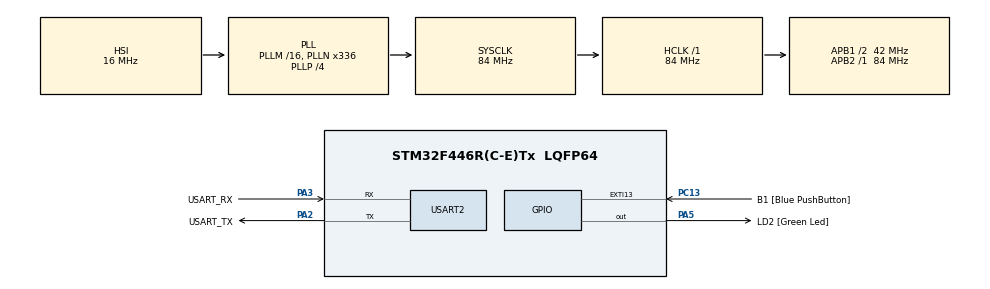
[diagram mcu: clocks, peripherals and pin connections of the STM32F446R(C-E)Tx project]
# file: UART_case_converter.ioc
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Mcu.Family=STM32F4
Mcu.Name=STM32F446R(C-E)Tx
Mcu.Package=LQFP64
NVIC.PriorityGroup=NVIC_PRIORITYGROUP_0
NVIC.USART2_IRQn=true\:0\:0\:false\:false\:true\:true\:true\:true
PA13.GPIO_Label=TMS
PA13.Mode=Serial_Wire
PA13.Signal=SYS_JTMS-SWDIO
PA14.GPIO_Label=TCK
PA14.Mode=Serial_Wire
PA14.Signal=SYS_JTCK-SWCLK
PA2.GPIO_Label=USART_TX
PA2.Mode=Asynchronous
PA2.Signal=USART2_TX
PA3.GPIO_Label=USART_RX
PA3.Mode=Asynchronous
PA3.Signal=USART2_RX
PA5.GPIO_Label=LD2 [Green Led]
PA5.Signal=GPIO_Output
PB3.GPIO_Label=SWO
PB3.Signal=SYS_JTDO-SWO
PC13.GPIO_Label=B1 [Blue PushButton]
PC13.GPIO_ModeDefaultEXTI=GPIO_MODE_IT_FALLING
PC13.Signal=GPXTI13
PC14-OSC32_IN.Mode=LSE-External-Oscillator
PC14-OSC32_IN.Signal=RCC_OSC32_IN
PC15-OSC32_OUT.Mode=LSE-External-Oscillator
PC15-OSC32_OUT.Signal=RCC_OSC32_OUT
PH0-OSC_IN.Mode=HSE-External-Oscillator
PH0-OSC_IN.Signal=RCC_OSC_IN
PH1-OSC_OUT.Mode=HSE-External-Oscillator
PH1-OSC_OUT.Signal=RCC_OSC_OUT
ProjectManager.HeapSize=0x200
ProjectManager.StackSize=0x400
ProjectManager.TargetToolchain=STM32CubeIDE
RCC.48MHZClocksFreq_Value=84000000
RCC.AHBFreq_Value=84000000
RCC.APB1CLKDivider=RCC_HCLK_DIV2
RCC.APB1Freq_Value=42000000
RCC.APB1TimFreq_Value=84000000
RCC.APB2Freq_Value=84000000
RCC.APB2TimFreq_Value=84000000
RCC.CortexFreq_Value=84000000
RCC.FLatency-AdvancedSettings=FLASH_LATENCY_2
RCC.HCLKFreq_Value=84000000
RCC.HSE_VALUE=8000000
RCC.HSI_VALUE=16000000
RCC.PLLN=336
RCC.PLLP=RCC_PLLP_DIV4
RCC.SYSCLKFreq_VALUE=84000000
RCC.SYSCLKSource=RCC_SYSCLKSOURCE_PLLCLK
RCC.USBFreq_Value=168000000
RCC.VCOOutputFreq_Value=336000000
USART2.VirtualMode=VM_ASYNC
board=NUCLEO-F446RE

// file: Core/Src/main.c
/* USER CODE BEGIN Header */
/**
  ******************************************************************************
  * @file           : main.c
  * @brief          : Main program body
  ******************************************************************************
  * @attention
  *
  * Copyright (c) 2025 STMicroelectronics.
  * All rights reserved.
  *
  * This software is licensed under terms that can be found in the LICENSE file
  * in the root directory of this software component.
  * If no LICENSE file comes with this software, it is provided AS-IS.
  *
  ******************************************************************************
  */
/* USER CODE END Header */
#include "main.h"

/* USER CODE BEGIN Includes */
#include "string.h"
/* USER CODE END Includes */

/* USER CODE BEGIN PD */
#define TRUE 1
#define FALSE 0
/* USER CODE END PD */

UART_HandleTypeDef huart2;

/* USER CODE BEGIN PV */
char * user_data = "hello from STM32\r\n";
uint8_t recvd_data;
uint8_t reception_complete = FALSE;
uint8_t data_buffer[100];
uint32_t count  = 0;
/* USER CODE END PV */

void SystemClock_Config(void);
static void MX_GPIO_Init(void);
static void MX_USART2_UART_Init(void);
/* USER CODE BEGIN PFP */
uint8_t case_converter(uint8_t);
/* USER CODE END PFP */

int main(void)
{

  /* MCU Configuration--------------------------------------------------------*/

  /* Reset of all peripherals, Initializes the Flash interface and the Systick. */
  HAL_Init();

  /* Configure the system clock */
  SystemClock_Config();

  /* Initialize all configured peripherals */
  MX_GPIO_Init();
  MX_USART2_UART_Init();
  /* USER CODE BEGIN 2 */
  uint16_t len_of_data = strlen(user_data);
  HAL_UART_Transmit(&huart2, (uint8_t *)user_data, len_of_data, HAL_MAX_DELAY);

  while(reception_complete !=TRUE)
  {
	  HAL_UART_Receive_IT(&huart2, &recvd_data, 1);
  }

  /* USER CODE END 2 */

  /* Infinite loop */
  while (1)
  {

  }
}

void SystemClock_Config(void)
{
  RCC_OscInitTypeDef RCC_OscInitStruct = {0};
  RCC_ClkInitTypeDef RCC_ClkInitStruct = {0};

  /** Configure the main internal regulator output voltage
  */
  __HAL_RCC_PWR_CLK_ENABLE();
  __HAL_PWR_VOLTAGESCALING_CONFIG(PWR_REGULATOR_VOLTAGE_SCALE3);

  /** Initializes the RCC Oscillators according to the specified parameters
  * in the RCC_OscInitTypeDef structure.
  */
  RCC_OscInitStruct.OscillatorType = RCC_OSCILLATORTYPE_HSI;
  RCC_OscInitStruct.HSIState = RCC_HSI_ON;
  RCC_OscInitStruct.HSICalibrationValue = RCC_HSICALIBRATION_DEFAULT;
  RCC_OscInitStruct.PLL.PLLState = RCC_PLL_ON;
  RCC_OscInitStruct.PLL.PLLSource = RCC_PLLSOURCE_HSI;
  RCC_OscInitStruct.PLL.PLLM = 16;
  RCC_OscInitStruct.PLL.PLLN = 336;
  RCC_OscInitStruct.PLL.PLLP = RCC_PLLP_DIV4;
  RCC_OscInitStruct.PLL.PLLQ = 2;
  RCC_OscInitStruct.PLL.PLLR = 2;
  if (HAL_RCC_OscConfig(&RCC_OscInitStruct) != HAL_OK)
  {
    Error_Handler();
  }

  /** Initializes the CPU, AHB and APB buses clocks
  */
  RCC_ClkInitStruct.ClockType = RCC_CLOCKTYPE_HCLK|RCC_CLOCKTYPE_SYSCLK
                              |RCC_CLOCKTYPE_PCLK1|RCC_CLOCKTYPE_PCLK2;
  RCC_ClkInitStruct.SYSCLKSource = RCC_SYSCLKSOURCE_PLLCLK;
  RCC_ClkInitStruct.AHBCLKDivider = RCC_SYSCLK_DIV1;
  RCC_ClkInitStruct.APB1CLKDivider = RCC_HCLK_DIV2;
  RCC_ClkInitStruct.APB2CLKDivider = RCC_HCLK_DIV1;

  if (HAL_RCC_ClockConfig(&RCC_ClkInitStruct, FLASH_LATENCY_2) != HAL_OK)
  {
    Error_Handler();
  }
}

static void MX_USART2_UART_Init(void)
{

  huart2.Instance = USART2;
  huart2.Init.BaudRate = 115200;
  huart2.Init.WordLength = UART_WORDLENGTH_8B;
  huart2.Init.StopBits = UART_STOPBITS_1;
  huart2.Init.Parity = UART_PARITY_NONE;
  huart2.Init.Mode = UART_MODE_TX_RX;
  huart2.Init.HwFlowCtl = UART_HWCONTROL_NONE;
  huart2.Init.OverSampling = UART_OVERSAMPLING_16;
  if (HAL_UART_Init(&huart2) != HAL_OK)
  {
    Error_Handler();
  }

}

static void MX_GPIO_Init(void)
{
  GPIO_InitTypeDef GPIO_InitStruct = {0};

  /* GPIO Ports Clock Enable */
  __HAL_RCC_GPIOC_CLK_ENABLE();
  __HAL_RCC_GPIOH_CLK_ENABLE();
  __HAL_RCC_GPIOA_CLK_ENABLE();
  __HAL_RCC_GPIOB_CLK_ENABLE();

  /*Configure GPIO pin Output Level */
  HAL_GPIO_WritePin(LD2_GPIO_Port, LD2_Pin, GPIO_PIN_RESET);

  /*Configure GPIO pin : B1_Pin */
  GPIO_InitStruct.Pin = B1_Pin;
  GPIO_InitStruct.Mode = GPIO_MODE_IT_FALLING;
  GPIO_InitStruct.Pull = GPIO_NOPULL;
  HAL_GPIO_Init(B1_GPIO_Port, &GPIO_InitStruct);

  /*Configure GPIO pin : LD2_Pin */
  GPIO_InitStruct.Pin = LD2_Pin;
  GPIO_InitStruct.Mode = GPIO_MODE_OUTPUT_PP;
  GPIO_InitStruct.Pull = GPIO_NOPULL;
  GPIO_InitStruct.Speed = GPIO_SPEED_FREQ_LOW;
  HAL_GPIO_Init(LD2_GPIO_Port, &GPIO_InitStruct);

}

/* USER CODE BEGIN 4 */
void HAL_UART_RxCpltCallback(UART_HandleTypeDef *huart){
	if(recvd_data == '\r')
	{
		reception_complete = TRUE;
		data_buffer[++count] = '\r';
		HAL_UART_Transmit(huart, data_buffer, count, HAL_MAX_DELAY);
	}
	else
	{
		data_buffer[count++] = case_converter(recvd_data);
	}
}
uint8_t case_converter(uint8_t data)
{
	if(data >= 'a' && data <= 'z')
	{
		data = data - ('a' - 'A');
	}
	if(data >= 'A' && data <= 'Z')
	{
		data = data + ('a' - 'A');
	}
	return data;
}
/* USER CODE END 4 */

void Error_Handler(void)
{
  __disable_irq();
  while (1)
  {
  }
}
